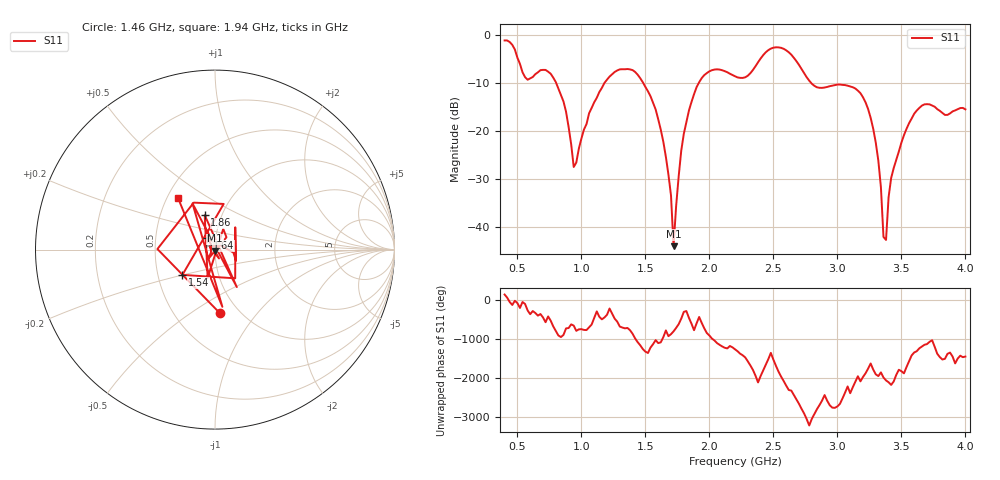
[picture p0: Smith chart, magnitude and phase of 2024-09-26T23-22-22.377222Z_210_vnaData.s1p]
!Created with skrf (http://scikit-rf.org).
# Hz S RI R 50.0
!freq ReS11 ImS11
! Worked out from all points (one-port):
!   181 points, 400 MHz to 4 GHz, reference 50 ohm
!   lowest |S11| = -43.9 dB at 1.72 GHz (marker M1), VSWR 1.01, Z = 50 - j0.639 ohm
!   |S11| at or under -10 dB: 802.6 MHz to 1.18 GHz (377.5 MHz wide, 38.1 % of centre); 1.483 GHz to 1.917 GHz (434.6 MHz wide, 25.6 % of centre); 2.795 GHz to end of sweep
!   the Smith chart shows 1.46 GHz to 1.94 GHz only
!   S11 on the Smith chart (normalised r, x): 1.46 GHz: 0.81, -0.66; 1.54 GHz: 0.67, -0.20; 1.64 GHz: 0.91, +0.12; 1.86 GHz: 0.83, +0.33; 1.94 GHz: 0.57, +0.38
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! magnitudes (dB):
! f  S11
! 400 MHz  -1.2
! 560 MHz  -8.8
! 720 MHz  -7.3
! 860 MHz  -13.9
! 940 MHz  -27.5
! 1.1 GHz  -14.0
! 1.3 GHz  -7.2
! 1.46 GHz  -9.0
! 1.54 GHz  -12.8
! 1.64 GHz  -22.2
! 1.7 GHz  -33.4
! 1.72 GHz  -43.9
! 1.76 GHz  -29.4
! 1.86 GHz  -14.0
! 1.94 GHz  -9.0
! 2.2 GHz  -8.6
! 2.5 GHz  -2.7
! 2.66 GHz  -4.8
! 2.84 GHz  -10.9
! 3.1 GHz  -10.7
! 3.28 GHz  -19.5
! 3.34 GHz  -31.7
! 3.36 GHz  -42.0
! 3.38 GHz  -42.6
! 3.42 GHz  -29.7
! 3.56 GHz  -18.4
! 3.68 GHz  -14.5
! 4 GHz  -15.5
